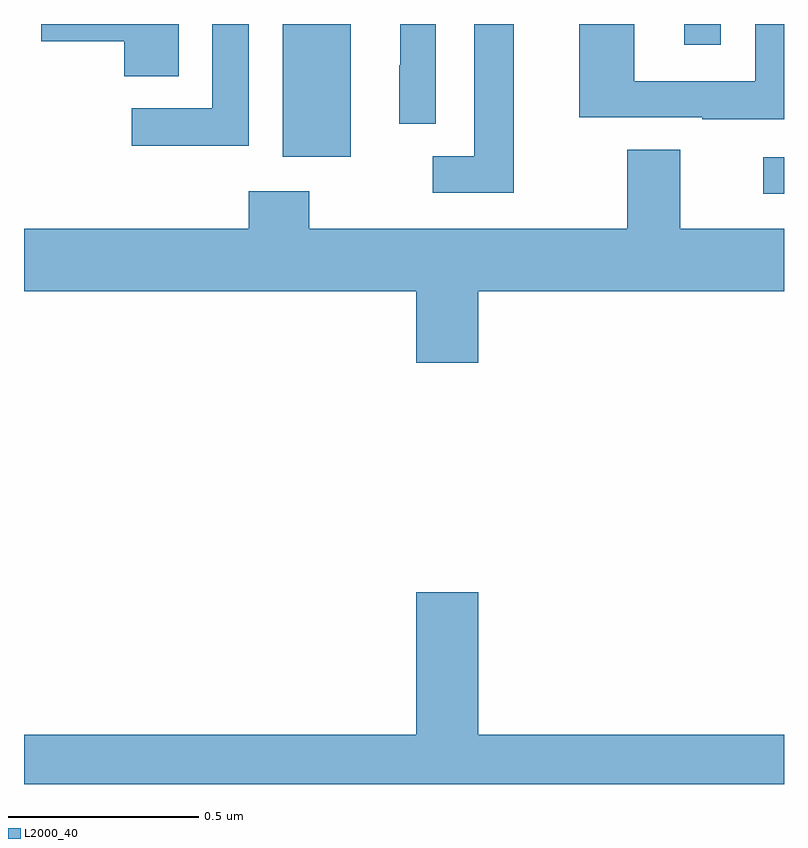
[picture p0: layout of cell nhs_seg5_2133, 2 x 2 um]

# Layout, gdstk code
import gdstk
lib = gdstk.Library(unit=1e-6, precision=1e-09)
def R(c, l, rs):  # rectangles x0, y0, x1, y1
    for r in rs: c.add(gdstk.rectangle(r[:2], r[2:], *l))
def P(c, l, *ps):  # polygons
    for p in ps: c.add(gdstk.Polygon(p, *l))
L2000_40 = (2000, 40)

nhs_seg5_2133 = lib.new_cell('nhs_seg5_2133')
R(nhs_seg5_2133, L2000_40, [(141.945,854.352,142,854.448), (140.681,854.45,140.86,854.799), (141.737,854.745,141.834,854.799)])
P(nhs_seg5_2133, L2000_40, [(141.289,854.799),(141.185,854.799),(141.185,854.451),(141.075,854.451),(141.075,854.355),(141.289,854.355)],
  [(140.592,854.799),(140.496,854.799),(140.496,854.577),(140.283,854.577),(140.283,854.479),(140.592,854.479)],
  [(141.084,854.799),(140.99,854.799),(140.99,854.69),(140.988,854.69),(140.988,854.536),(141.084,854.536)],
  [(142,854.799),(141.924,854.799),(141.924,854.649),(141.606,854.649),(141.606,854.799),(141.461,854.799),(141.461,854.553),(141.785,854.553),(141.785,854.549),(142,854.549)],
  [(140.407,854.799),(140.046,854.799),(140.046,854.753),(140.264,854.753),(140.264,854.662),(140.407,854.662)],
  [(141.196,854.096),(142,854.096),(142,854.26),(141.727,854.26),(141.727,854.468),(141.587,854.468),(141.587,854.26),(140.751,854.26),(140.751,854.359),(140.591,854.359),(140.591,854.26),(140,854.26),(140,854.096),(141.032,854.096),(141.032,853.908),(141.196,853.908)],
  [(142,852.928),(141.196,852.928),(141.196,853.303),(141.032,853.303),(141.032,852.928),(140,852.928),(140,852.799),(142,852.799)])

lib.write_gds('nhs_seg5_2133.gds')
